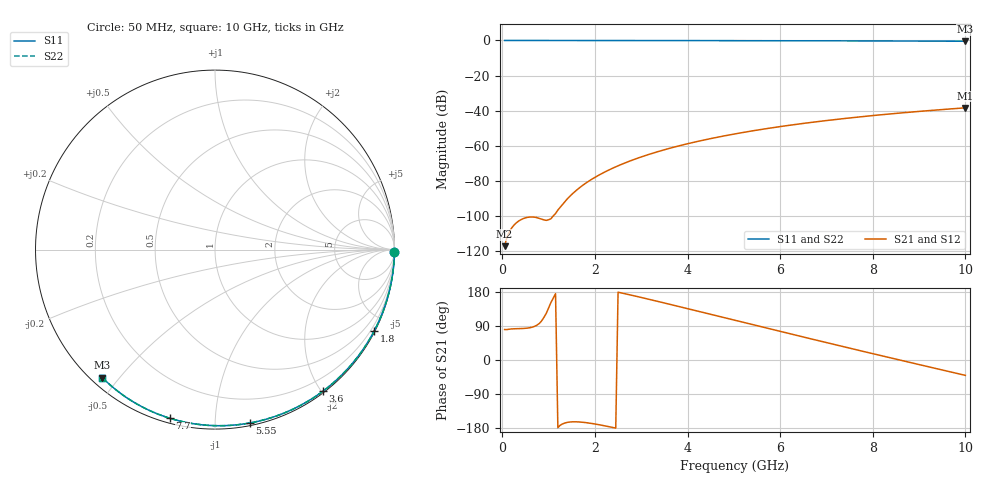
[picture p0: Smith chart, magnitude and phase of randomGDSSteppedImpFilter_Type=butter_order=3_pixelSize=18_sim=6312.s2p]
! freq	dB(S11)	phase(S11)	dB(S12)	phase(S12)
!  dB(S21)	phase(S21)	dB(S22)	phase(S22)
!S-par simulation data
#  GHz  S  DB  R 50
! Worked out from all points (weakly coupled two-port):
!   200 points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, 50 MHz to 10 GHz, reference 50 ohm
!   highest |S21| = -38.41 dB at 10 GHz (marker M1); lowest = -117.3 dB at 50 MHz (marker M2)
!   lowest |S11| = -0.4 dB at 10 GHz (marker M3), VSWR 39.09, Z = 1.54 - j22.6 ohm
!   |S11| at or under -10 dB: nowhere
!   |S22| runs from -0.4 to 0.0 dB; largest |S21 - S12| = 0
!   S11 on the Smith chart (normalised r, x): 50 MHz: open; 1.8 GHz: 0.04, -4.18; 3.6 GHz: 0.02, -2.02; 5.55 GHz: 0.02, -1.22; 7.7 GHz: 0.02, -0.77; 10 GHz: 0.03, -0.45
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0.05  -0.00 -0.8  -117.26 80.5  -117.26 80.5  -0.00 -0.8
0.9  -0.02 -13.6  -102.30 112.7  -102.30 112.7  -0.02 -13.6
1.75  -0.03 -26.2  -82.32 -164.5  -82.32 -164.5  -0.03 -26.2
1.8  -0.03 -26.9  -81.39 -165.2  -81.39 -165.2  -0.03 -26.9
1.85  -0.04 -27.6  -80.50 -166.0  -80.50 -166.0  -0.04 -27.6
1.9  -0.04 -28.4  -79.65 -166.9  -79.65 -166.9  -0.04 -28.4
2.05  -0.04 -30.6  -77.28 -169.9  -77.28 -169.9  -0.04 -30.6
2.25  -0.04 -33.5  -74.49 -174.6  -74.49 -174.6  -0.04 -33.5
2.45  -0.05 -36.4  -72.01 -179.7  -72.01 -179.7  -0.05 -36.4
2.65  -0.05 -39.2  -69.80 174.9  -69.80 174.9  -0.05 -39.2
3  -0.06 -44.2  -66.39 165.0  -66.39 165.0  -0.06 -44.2
3.4  -0.07 -49.8  -63.06 153.4  -63.06 153.4  -0.07 -49.8
3.6  -0.07 -52.6  -61.57 147.5  -61.57 147.5  -0.07 -52.6
4.3  -0.09 -62.2  -57.06 126.6  -57.06 126.6  -0.09 -62.2
5.05  -0.11 -72.1  -53.13 104.0  -53.13 104.0  -0.11 -72.1
5.55  -0.13 -78.6  -50.90 89.0  -50.90 89.0  -0.13 -78.6
6.1  -0.15 -85.6  -48.72 72.6  -48.72 72.6  -0.15 -85.6
6.7  -0.18 -93.0  -46.61 54.8  -46.61 54.8  -0.18 -93.0
7.7  -0.24 -105.0  -43.61 25.4  -43.61 25.4  -0.24 -105.0
8.35  -0.29 -112.6  -41.94 6.6  -41.94 6.6  -0.29 -112.6
9.15  -0.36 -121.7  -40.11 -16.4  -40.11 -16.4  -0.36 -121.7
10  -0.44 -131.3  -38.41 -40.6  -38.41 -40.6  -0.44 -131.3
